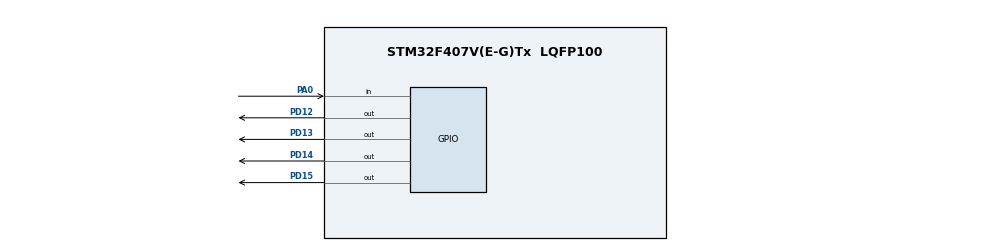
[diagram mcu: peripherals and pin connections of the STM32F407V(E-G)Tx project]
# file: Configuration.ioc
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Mcu.Family=STM32F4
Mcu.Name=STM32F407V(E-G)Tx
Mcu.Package=LQFP100
NVIC.PriorityGroup=NVIC_PRIORITYGROUP_4
PA0-WKUP.Signal=GPIO_Input
PD12.Signal=GPIO_Output
PD13.Signal=GPIO_Output
PD14.Signal=GPIO_Output
PD15.Signal=GPIO_Output
ProjectManager.HeapSize=0x200
ProjectManager.StackSize=0x400
ProjectManager.TargetToolchain=EWARM V8
RCC.AHBFreq_Value=16000000
RCC.APB1Freq_Value=16000000
RCC.APB2Freq_Value=16000000
RCC.CortexFreq_Value=16000000
RCC.HSE_VALUE=25000000
RCC.HSI_VALUE=16000000
RCC.LSE_VALUE=32768
RCC.SYSCLKFreq_VALUE=16000000
RCC.VCOOutputFreq_Value=192000000
board=custom

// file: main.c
/**
  ******************************************************************************
  * @file           : main.c
  * @brief          : Main program body
  ******************************************************************************
  ** This notice applies to any and all portions of this file
  * that are not between comment pairs USER CODE BEGIN and
  * USER CODE END. Other portions of this file, whether
  * inserted by the user or by software development tools
  * are owned by their respective copyright owners.
  *
  * COPYRIGHT(c) 2021 STMicroelectronics
  *
  * Redistribution and use in source and binary forms, with or without modification,
  * are permitted provided that the following conditions are met:
  *   1. Redistributions of source code must retain the above copyright notice,
  *      this list of conditions and the following disclaimer.
  *   2. Redistributions in binary form must reproduce the above copyright notice,
  *      this list of conditions and the following disclaimer in the documentation
  *      and/or other materials provided with the distribution.
  *   3. Neither the name of STMicroelectronics nor the names of its contributors
  *      may be used to endorse or promote products derived from this software
  *      without specific prior written permission.
  *
  * THIS SOFTWARE IS PROVIDED BY THE COPYRIGHT HOLDERS AND CONTRIBUTORS "AS IS"
  * AND ANY EXPRESS OR IMPLIED WARRANTIES, INCLUDING, BUT NOT LIMITED TO, THE
  * IMPLIED WARRANTIES OF MERCHANTABILITY AND FITNESS FOR A PARTICULAR PURPOSE ARE
  * DISCLAIMED. IN NO EVENT SHALL THE COPYRIGHT HOLDER OR CONTRIBUTORS BE LIABLE
  * FOR ANY DIRECT, INDIRECT, INCIDENTAL, SPECIAL, EXEMPLARY, OR CONSEQUENTIAL
  * DAMAGES (INCLUDING, BUT NOT LIMITED TO, PROCUREMENT OF SUBSTITUTE GOODS OR
  * SERVICES; LOSS OF USE, DATA, OR PROFITS; OR BUSINESS INTERRUPTION) HOWEVER
  * CAUSED AND ON ANY THEORY OF LIABILITY, WHETHER IN CONTRACT, STRICT LIABILITY,
  * OR TORT (INCLUDING NEGLIGENCE OR OTHERWISE) ARISING IN ANY WAY OUT OF THE USE
  * OF THIS SOFTWARE, EVEN IF ADVISED OF THE POSSIBILITY OF SUCH DAMAGE.
  *
  ******************************************************************************
  */
#include "main.h"
#include "stm32f4xx_hal.h"

//I2C_HandleTypeDef hi2c1;

#define mpu9265Address 0xA0
uint8_t i;
uint8_t myPushButton ; // entier non signe sur 8 bits

/* USER CODE BEGIN PV */
/* Private variables ---------------------------------------------------------*/

/* USER CODE END PV */

//void SystemClock_Config(void);
//static void MX_GPIO_Init(void);
//static void MX_I2C1_Init(void);

/* USER CODE BEGIN PFP */
/* Private function prototypes -----------------------------------------------*/

/* USER CODE END PFP */

int main(void)
{
  /* USER CODE BEGIN 1 */

  HAL_Init () ;
 SystemClock_Config () ;
 MX_GPIO_Init () ;
 // initialisation
 HAL_GPIO_WritePin (GPIOD , GPIO_PIN_12 , 0) ;
 HAL_GPIO_WritePin (GPIOD , GPIO_PIN_13 , 0) ;
 HAL_GPIO_WritePin (GPIOD , GPIO_PIN_14 , 0) ;
 HAL_GPIO_WritePin (GPIOD , GPIO_PIN_15 , 0) ;
 while (1) {
 myPushButton = HAL_GPIO_ReadPin (GPIOA , GPIO_PIN_0 ) ; // lire le niveau du bouton
 if ( myPushButton == 1) { // si bouton est appuye
 // Orange s’allume puis s’eteint
 HAL_GPIO_WritePin (GPIOD , GPIO_PIN_12 , 1) ;
 HAL_Delay (200) ;
 HAL_GPIO_WritePin (GPIOD , GPIO_PIN_12 , 0) ;
 // Rouge s’allume puis s’eteint
 HAL_GPIO_WritePin (GPIOD , GPIO_PIN_13 , 1) ;
 HAL_Delay (200) ;
 HAL_GPIO_WritePin (GPIOD , GPIO_PIN_13 , 0) ;
 // Bleu s’allume puis s’eteint
 HAL_GPIO_WritePin (GPIOD , GPIO_PIN_14 , 1) ;
 HAL_Delay (200) ;
 HAL_GPIO_WritePin (GPIOD , GPIO_PIN_14 , 0) ;
 // vert s’allume puis s’eteint
 HAL_GPIO_WritePin (GPIOD , GPIO_PIN_15 , 1) ;
 HAL_Delay (200) ;
 HAL_GPIO_WritePin (GPIOD , GPIO_PIN_15 , 0) ;
 }
 else {
 // si bouton est non appuye
 // toutes les LEDs s’eteignent
 HAL_GPIO_WritePin (GPIOD , GPIO_PIN_12 , 0) ;
 HAL_GPIO_WritePin (GPIOD , GPIO_PIN_13 , 0) ;
 HAL_GPIO_WritePin (GPIOD , GPIO_PIN_14 , 0) ;
 HAL_GPIO_WritePin (GPIOD , GPIO_PIN_15 , 0) ;
 }
 HAL_Delay (200) ;
 }
 }

  /* USER CODE END 1 */

  /* MCU Configuration----------------------------------------------------------*/

  /* Reset of all peripherals, Initializes the Flash interface and the Systick. */

  /* Configure the system clock */
  /*SystemClock_Config();*/

  /* Initialize all configured peripherals */

  /* Infinite loop */
  /* USER CODE BEGIN WHILE */
     //emision

//Reception

//i2cBuf [0]=0x28;
//HAL_I2C_Master_Transmit (&hi2c1, mpu9265Address, i2cBuf ,1,10);

//

  /* USER CODE END WHILE */
//transmission

  /* USER CODE BEGIN 3 */

 //
  /* USER CODE END 3 */

/*}

/*void SystemClock_Config(void)
{

  RCC_OscInitTypeDef RCC_OscInitStruct;
  RCC_ClkInitTypeDef RCC_ClkInitStruct;

    /**Configure the main internal regulator output voltage
    */
  /*__HAL_RCC_PWR_CLK_ENABLE();

  __HAL_PWR_VOLTAGESCALING_CONFIG(PWR_REGULATOR_VOLTAGE_SCALE1);

    /**Initializes the CPU, AHB and APB busses clocks
    */
 /* RCC_OscInitStruct.OscillatorType = RCC_OSCILLATORTYPE_HSI;
  RCC_OscInitStruct.HSIState = RCC_HSI_ON;
  RCC_OscInitStruct.HSICalibrationValue = 16;
  RCC_OscInitStruct.PLL.PLLState = RCC_PLL_NONE;
  if (HAL_RCC_OscConfig(&RCC_OscInitStruct) != HAL_OK)
  {
    _Error_Handler(__FILE__, __LINE__);
  }

    /**Initializes the CPU, AHB and APB busses clocks
    */
  /*RCC_ClkInitStruct.ClockType = RCC_CLOCKTYPE_HCLK|RCC_CLOCKTYPE_SYSCLK
                              |RCC_CLOCKTYPE_PCLK1|RCC_CLOCKTYPE_PCLK2;
  RCC_ClkInitStruct.SYSCLKSource = RCC_SYSCLKSOURCE_HSI;
  RCC_ClkInitStruct.AHBCLKDivider = RCC_SYSCLK_DIV1;
  RCC_ClkInitStruct.APB1CLKDivider = RCC_HCLK_DIV1;
  RCC_ClkInitStruct.APB2CLKDivider = RCC_HCLK_DIV1;

  if (HAL_RCC_ClockConfig(&RCC_ClkInitStruct, FLASH_LATENCY_0) != HAL_OK)
  {
    _Error_Handler(__FILE__, __LINE__);
  }

    /**Configure the Systick interrupt time
    */
  /*HAL_SYSTICK_Config(HAL_RCC_GetHCLKFreq()/1000);

    /**Configure the Systick
    */
  /*HAL_SYSTICK_CLKSourceConfig(SYSTICK_CLKSOURCE_HCLK);

  /* SysTick_IRQn interrupt configuration */
  /*HAL_NVIC_SetPriority(SysTick_IRQn, 0, 0);
}

/* I2C1 init function */
/*static void MX_I2C1_Init(void)
{

  hi2c1.Instance = I2C1;
  hi2c1.Init.ClockSpeed = 100000;
  hi2c1.Init.DutyCycle = I2C_DUTYCYCLE_2;
  hi2c1.Init.OwnAddress1 = 0;
  hi2c1.Init.AddressingMode = I2C_ADDRESSINGMODE_7BIT;
  hi2c1.Init.DualAddressMode = I2C_DUALADDRESS_DISABLE;
  hi2c1.Init.OwnAddress2 = 0;
  hi2c1.Init.GeneralCallMode = I2C_GENERALCALL_DISABLE;
  hi2c1.Init.NoStretchMode = I2C_NOSTRETCH_DISABLE;
  if (HAL_I2C_Init(&hi2c1) != HAL_OK)
  {
    _Error_Handler(__FILE__, __LINE__);
  }

}

/** Configure pins as
        * Analog
        * Input
        * Output
        * EVENT_OUT
        * EXTI
*/
//static void MX_GPIO_Init(void)
//{

  /* GPIO Ports Clock Enable */

  /*Configure GPIO pin Output Level */

  /*Configure GPIO pin : PD12 */

//}

/*void _Error_Handler(char *file, int line)
{
  /* USER CODE BEGIN Error_Handler_Debug */
  /* User can add his own implementation to report the HAL error return state */
 /* while(1)
  {
  }
  /* USER CODE END Error_Handler_Debug */
//}*/

/************************ (C) COPYRIGHT STMicroelectronics *****END OF FILE****/
